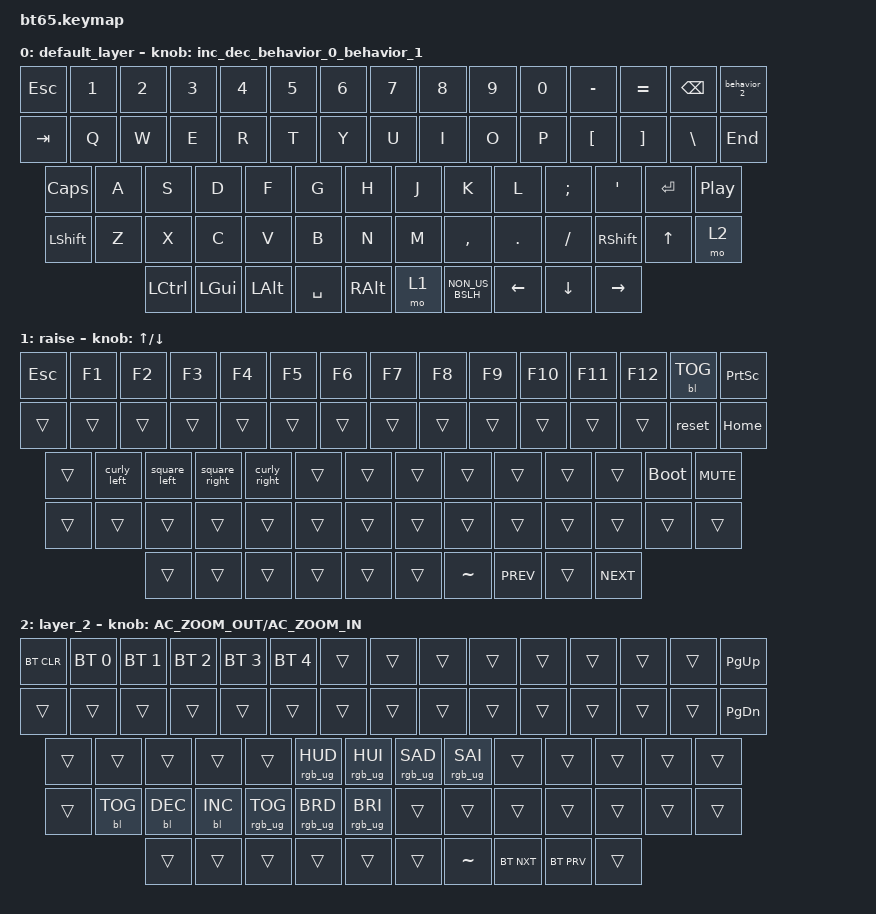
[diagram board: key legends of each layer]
#include <behaviors.dtsi>
#include <dt-bindings/zmk/keys.h>
#include <dt-bindings/zmk/bt.h>
#include <dt-bindings/zmk/rgb.h>
#include <dt-bindings/zmk/backlight.h>
#include <dt-bindings/zmk/ext_power.h>

#include <dt-bindings/zmk/outputs.h>

/ {
    behaviors {
        vol_up: behavior_0 {
            compatible = "zmk,behavior-key-press";
            label = "VOLUME UP";
            usage-page = <0x0C>;
            usage = <0x00E9>;
        };
        vol_down: behavior_1 {
            compatible = "zmk,behavior-key-press";
            label = "VOLUME DOWN";
            usage-page = <0x0C>;
            usage = <0x00EA>;
        };
        mute: behavior_2 {
            compatible = "zmk,behavior-key-press";
            label = "MUTE";
            usage-page = <0x0C>;
            usage = <0x00E2>;
        };
    };
    macros {
        curly_left: curly_left {
            label = "Curly left bracket";
            compatible = "zmk,behavior-macro";
            #binding-cells = <0>;
            bindings
                = <&macro_press &kp RALT>
                , <&macro_tap &kp N7>
                , <&macro_release &kp RALT>
                ;
        };
        curly_right: curly_right {
            label = "Curly right bracket";
            compatible = "zmk,behavior-macro";
            #binding-cells = <0>;
            bindings
                = <&macro_press &kp RALT>
                , <&macro_tap &kp N0>
                , <&macro_release &kp RALT>
                ;
        };
        square_left: square_left {
            label = "Square left bracket";
            compatible = "zmk,behavior-macro";
            #binding-cells = <0>;
            bindings
                = <&macro_press &kp RALT>
                , <&macro_tap &kp N8>
                , <&macro_release &kp RALT>
                ;
        };
        square_right: square_right {
            label = "Square right bracket";
            compatible = "zmk,behavior-macro";
            #binding-cells = <0>;
            bindings
                = <&macro_press &kp RALT>
                , <&macro_tap &kp N9>
                , <&macro_release &kp RALT>
                ;
        };
		greater_than: greater_than {
            label = "Greater than";
            compatible = "zmk,behavior-macro";
            #binding-cells = <0>;
            bindings
                = <&macro_press &kp LSHFT>
                , <&macro_tap &kp NON_US_BSLH>
                , <&macro_release &kp LSHFT>
                ;
		};
    };

	combos {
        compatible = "zmk,combos";
        combo_less_than {
            timeout-ms = <50>;
            key-positions = <31 32>;
            bindings = <&kp NON_US_BSLH>; 
        };
        combo_greater_than {
            timeout-ms = <50>;
            key-positions = <33 34>;
            bindings = <&greater_than>; 
        };
    };

	
    keymap {
        compatible = "zmk,keymap";

        default_layer {
            bindings = <

				&kp ESC &kp N1 &kp N2 &kp N3 &kp N4 &kp N5 &kp N6 &kp N7 &kp  N8   &kp  N9   &kp N0 &kp MINUS &kp EQUAL &kp BKSP &behavior_2
                &kp TAB  &kp Q  &kp W  &kp E  &kp R  &kp T  &kp Y  &kp U  &kp  I    &kp  O  &kp  P   &kp LBKT &kp RBKT  	&kp BSLH &kp END
				&kp CLCK  &kp A  &kp S  &kp D  &kp F  &kp G  &kp H  &kp J  &kp  K    &kp  L  &kp SEMI &kp SQT           	&kp RET &kp C_PLAY_PAUSE
				&kp LSHFT &kp Z  &kp X  &kp C  &kp V  &kp B  &kp N  &kp M  &kp COMMA &kp DOT &kp FSLH   &kp RSHFT &kp UP &mo 2
				&kp LCTRL &kp LGUI &kp LALT            &kp SPACE                          &kp RALT  &mo 1 &kp NON_US_BSLH &kp LEFT &kp DOWN &kp RIGHT
			>;
            sensor-bindings = <&inc_dec_behavior_0_behavior_1>;
        };
		raise {
		bindings = <
				&kp ESC &kp F1 &kp F2 &kp F3 &kp F4 &kp F5 &kp F6 &kp F7 &kp  F8   &kp  F9   &kp F10  &kp F11 &kp F12 &bl BL_TOG &kp PSCRN //15
				&trans &trans &trans &trans &trans &trans &trans &trans &trans &trans &trans &trans &trans &reset &kp HOME //15
				&trans    &curly_left &square_left &square_right &curly_right &trans &trans &trans &trans &trans &trans  &trans   &bootloader &kp C_MUTE
				&trans &trans &trans &trans &trans &trans &trans &trans &trans &trans &trans  &trans &trans &trans
				&trans &trans  &trans              &trans                            &trans   &trans   &kp TILDE &kp C_PREV &trans &kp C_NEXT
			>; 
			sensor-bindings = <&inc_dec_kp UP DOWN>; 
		};
		layer_2 {
			bindings = <
				&bt BT_CLR &bt BT_SEL 0 &bt BT_SEL 1 &bt BT_SEL 2 &bt BT_SEL 3 &bt BT_SEL 4 &trans &trans &trans &trans &trans &trans &trans &trans &kp PAGE_UP
				&trans &trans &trans &trans &trans &trans &trans &trans &trans &trans &trans &trans &trans &trans &kp PAGE_DOWN
				&trans    &trans &trans &trans &trans &rgb_ug RGB_HUD &rgb_ug RGB_HUI &rgb_ug RGB_SAD &rgb_ug RGB_SAI &trans &trans  &trans   &trans &trans
				&trans &bl BL_TOG &bl BL_DEC &bl BL_INC &rgb_ug RGB_TOG &rgb_ug RGB_BRD &rgb_ug RGB_BRI &trans &trans &trans &trans  &trans &trans &trans
 				&trans &trans  &trans              &trans                            &trans   &trans   &kp TILDE &bt BT_NXT &bt BT_PRV &trans
			>;
			sensor-bindings = <&inc_dec_kp C_AC_ZOOM_OUT C_AC_ZOOM_IN>;
		};
	};
};
